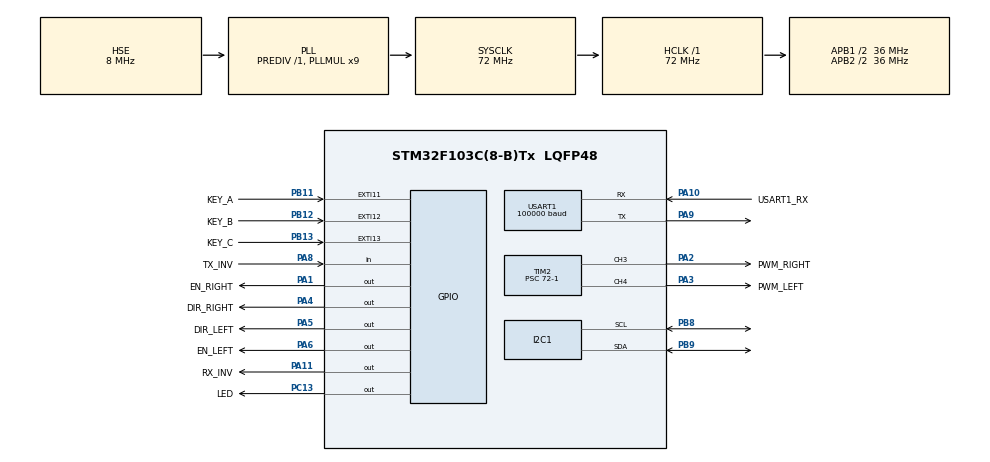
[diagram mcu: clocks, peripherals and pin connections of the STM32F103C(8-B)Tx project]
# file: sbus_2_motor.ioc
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Dma.I2C1_TX.0.Direction=DMA_MEMORY_TO_PERIPH
Dma.I2C1_TX.0.Instance=DMA1_Channel6
Dma.I2C1_TX.0.MemDataAlignment=DMA_MDATAALIGN_BYTE
Dma.I2C1_TX.0.MemInc=DMA_MINC_ENABLE
Dma.I2C1_TX.0.Mode=DMA_NORMAL
Dma.I2C1_TX.0.PeriphDataAlignment=DMA_PDATAALIGN_BYTE
Dma.I2C1_TX.0.PeriphInc=DMA_PINC_DISABLE
Dma.I2C1_TX.0.Priority=DMA_PRIORITY_LOW
Dma.Request0=I2C1_TX
Dma.Request1=USART1_RX
Dma.Request2=TIM2_CH2/CH4
Dma.Request3=TIM2_CH3
Dma.TIM2_CH2/CH4.2.Direction=DMA_MEMORY_TO_PERIPH
Dma.TIM2_CH2/CH4.2.Instance=DMA1_Channel7
Dma.TIM2_CH2/CH4.2.MemDataAlignment=DMA_MDATAALIGN_HALFWORD
Dma.TIM2_CH2/CH4.2.MemInc=DMA_MINC_ENABLE
Dma.TIM2_CH2/CH4.2.Mode=DMA_NORMAL
Dma.TIM2_CH2/CH4.2.PeriphDataAlignment=DMA_PDATAALIGN_HALFWORD
Dma.TIM2_CH2/CH4.2.PeriphInc=DMA_PINC_DISABLE
Dma.TIM2_CH2/CH4.2.Priority=DMA_PRIORITY_LOW
Dma.TIM2_CH3.3.Direction=DMA_MEMORY_TO_PERIPH
Dma.TIM2_CH3.3.Instance=DMA1_Channel1
Dma.TIM2_CH3.3.MemDataAlignment=DMA_MDATAALIGN_HALFWORD
Dma.TIM2_CH3.3.MemInc=DMA_MINC_ENABLE
Dma.TIM2_CH3.3.Mode=DMA_NORMAL
Dma.TIM2_CH3.3.PeriphDataAlignment=DMA_PDATAALIGN_HALFWORD
Dma.TIM2_CH3.3.PeriphInc=DMA_PINC_DISABLE
Dma.TIM2_CH3.3.Priority=DMA_PRIORITY_LOW
Dma.USART1_RX.1.Direction=DMA_PERIPH_TO_MEMORY
Dma.USART1_RX.1.Instance=DMA1_Channel5
Dma.USART1_RX.1.MemDataAlignment=DMA_MDATAALIGN_BYTE
Dma.USART1_RX.1.MemInc=DMA_MINC_ENABLE
Dma.USART1_RX.1.Mode=DMA_NORMAL
Dma.USART1_RX.1.PeriphDataAlignment=DMA_PDATAALIGN_BYTE
Dma.USART1_RX.1.PeriphInc=DMA_PINC_DISABLE
Dma.USART1_RX.1.Priority=DMA_PRIORITY_MEDIUM
I2C1.I2C_Mode=I2C_Standard
Mcu.Family=STM32F1
Mcu.Name=STM32F103C(8-B)Tx
Mcu.Package=LQFP48
NVIC.DMA1_Channel1_IRQn=true\:0\:0\:false\:false\:true\:true\:true\:true
NVIC.DMA1_Channel5_IRQn=true\:0\:0\:false\:false\:true\:true\:true\:true
NVIC.DMA1_Channel6_IRQn=true\:0\:0\:true\:true\:true\:1\:false\:true\:true
NVIC.DMA1_Channel7_IRQn=true\:0\:0\:false\:false\:true\:true\:true\:true
NVIC.EXTI15_10_IRQn=true\:0\:0\:false\:true\:true\:2\:true\:true\:true
NVIC.I2C1_ER_IRQn=true\:0\:0\:true\:false\:true\:true\:true\:true
NVIC.I2C1_EV_IRQn=true\:0\:0\:true\:false\:true\:true\:true\:true
NVIC.PriorityGroup=NVIC_PRIORITYGROUP_4
NVIC.TIM2_IRQn=true\:0\:0\:true\:false\:true\:true\:true\:true
NVIC.USART1_IRQn=true\:0\:0\:false\:false\:true\:true\:true\:true
PA1.GPIO_Label=EN_RIGHT
PA1.Signal=GPIO_Output
PA10.GPIO_Label=USART1_RX
PA10.GPIO_ModeDefaultEXTI=GPIO_MODE_IT_FALLING
PA10.GPIO_PuPd=GPIO_NOPULL
PA10.Signal=SharedStack_PA10
PA10.Stacked=true
PA11.GPIO_Label=RX_INV
PA11.Signal=GPIO_Output
PA13.Mode=Serial_Wire
PA13.Signal=SYS_JTMS-SWDIO
PA14.Mode=Serial_Wire
PA14.Signal=SYS_JTCK-SWCLK
PA2.GPIO_Label=PWM_RIGHT
PA2.Signal=S_TIM2_CH3
PA3.GPIO_Label=PWM_LEFT
PA3.Signal=S_TIM2_CH4
PA4.GPIO_Label=DIR_RIGHT
PA4.Signal=GPIO_Output
PA5.GPIO_Label=DIR_LEFT
PA5.Signal=GPIO_Output
PA6.GPIO_Label=EN_LEFT
PA6.Signal=GPIO_Output
PA8.GPIO_Label=TX_INV
PA8.Signal=GPIO_Input
PA9.Mode=Asynchronous
PA9.Signal=USART1_TX
PB11.GPIO_Label=KEY_A
PB11.GPIO_PuPd=GPIO_PULLUP
PB11.Signal=SharedStack_PB11
PB11.Stacked=true
PB12.GPIO_Label=KEY_B
PB12.GPIO_PuPd=GPIO_PULLUP
PB12.Signal=SharedStack_PB12
PB12.Stacked=true
PB13.GPIO_Label=KEY_C
PB13.GPIO_PuPd=GPIO_PULLUP
PB13.Signal=SharedStack_PB13
PB13.Stacked=true
PB8.Mode=I2C
PB8.Signal=I2C1_SCL
PB9.Mode=I2C
PB9.Signal=I2C1_SDA
PC13-TAMPER-RTC.GPIO_Label=LED
PC13-TAMPER-RTC.Signal=GPIO_Output
PC14-OSC32_IN.Mode=LSE-External-Oscillator
PC14-OSC32_IN.Signal=RCC_OSC32_IN
PC15-OSC32_OUT.Mode=LSE-External-Oscillator
PC15-OSC32_OUT.Signal=RCC_OSC32_OUT
PD0-OSC_IN.Mode=HSE-External-Oscillator
PD0-OSC_IN.Signal=RCC_OSC_IN
PD1-OSC_OUT.Mode=HSE-External-Oscillator
PD1-OSC_OUT.Signal=RCC_OSC_OUT
ProjectManager.HeapSize=0x200
ProjectManager.StackSize=0x400
ProjectManager.TargetToolchain=STM32CubeIDE
RCC.AHBFreq_Value=72000000
RCC.APB1CLKDivider=RCC_HCLK_DIV2
RCC.APB1Freq_Value=36000000
RCC.APB1TimFreq_Value=72000000
RCC.APB2CLKDivider=RCC_HCLK_DIV2
RCC.APB2Freq_Value=36000000
RCC.APB2TimFreq_Value=72000000
RCC.EnbaleCSS=true
RCC.HCLKFreq_Value=72000000
RCC.PLLMUL=RCC_PLL_MUL9
RCC.PLLSourceVirtual=RCC_PLLSOURCE_HSE
RCC.SYSCLKFreq_VALUE=72000000
RCC.SYSCLKSource=RCC_SYSCLKSOURCE_PLLCLK
RCC.USBFreq_Value=72000000
SH.S_TIM2_CH3.0=TIM2_CH3,PWM Generation3 CH3
SH.S_TIM2_CH4.0=TIM2_CH4,PWM Generation4 CH4
SH.SharedStack_PA10.0=USART1_RX,Asynchronous
SH.SharedStack_PA10.1=GPIO_EXTI10+0
SH.SharedStack_PB11.0=GPIO_EXTI11
SH.SharedStack_PB11.1=GPIO_Input+0
SH.SharedStack_PB12.0=GPIO_EXTI12
SH.SharedStack_PB12.1=GPIO_Input+0
SH.SharedStack_PB13.0=GPIO_EXTI13
SH.SharedStack_PB13.1=GPIO_Input+0
TIM2.AutoReloadPreload=TIM_AUTORELOAD_PRELOAD_ENABLE
TIM2.Channel-PWM\ Generation3\ CH3=TIM_CHANNEL_3
TIM2.Channel-PWM\ Generation4\ CH4=TIM_CHANNEL_4
TIM2.ClockDivision=TIM_CLOCKDIVISION_DIV1
TIM2.OCFastMode_PWM-PWM\ Generation3\ CH3=TIM_OCFAST_ENABLE
TIM2.OCFastMode_PWM-PWM\ Generation4\ CH4=TIM_OCFAST_ENABLE
TIM2.Period=1000-1
TIM2.Prescaler=72-1
TIM2.Pulse-PWM\ Generation3\ CH3=0
TIM2.Pulse-PWM\ Generation4\ CH4=0
USART1.BaudRate=100000
USART1.Parity=PARITY_EVEN
USART1.StopBits=STOPBITS_2
USART1.VirtualMode=VM_ASYNC
VP_TIM2_VS_ClockSourceINT.Mode=Internal
board=custom

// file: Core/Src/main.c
/* USER CODE BEGIN Header */
/**
  ******************************************************************************
  * @file           : main.c
  * @brief          : Main program body
  ******************************************************************************
  * @attention
  *
  * Copyright (c) 2022 STMicroelectronics.
  * All rights reserved.
  *
  * This software is licensed under terms that can be found in the LICENSE file
  * in the root directory of this software component.
  * If no LICENSE file comes with this software, it is provided AS-IS.
  *
  ******************************************************************************
  */
/* USER CODE END Header */
#include "main.h"

/* USER CODE BEGIN Includes */
#include "fonts.h"
#include "image.h"
#include "math.h"
#include "string.h"
#include "ssd1306.h"
#include <stdio.h>
/* USER CODE END Includes */

/* USER CODE BEGIN PTD */
typedef struct {
	int16_t value;
	int16_t trim;

//	uint8_t channel_bits;
}
channel_t;

/* USER CODE END PTD */

/* USER CODE BEGIN PD */

//SBUS
#define SBUS_SIGNAL_OK          0x00
#define SBUS_SIGNAL_LOST        0x01
#define SBUS_SIGNAL_FAILSAFE    0x03

#define BUF_RX_LENGTH 25
/* USER CODE END PD */

I2C_HandleTypeDef hi2c1;
DMA_HandleTypeDef hdma_i2c1_tx;

TIM_HandleTypeDef htim2;
DMA_HandleTypeDef hdma_tim2_ch2_ch4;
DMA_HandleTypeDef hdma_tim2_ch3;

UART_HandleTypeDef huart1;
DMA_HandleTypeDef hdma_usart1_rx;

/* USER CODE BEGIN PV */
channel_t channels[18];
uint16_t failsafe_status;
HAL_StatusTypeDef HAL_status;
uint8_t buf_in[BUF_RX_LENGTH];
char str[20] = {0,};
int speed = 0;
int rotary = 0;
long left , right = 0;
unsigned int packetCounter, oldPacketCounter = 0;
/* USER CODE END PV */

void SystemClock_Config(void);
static void MX_GPIO_Init(void);
static void MX_DMA_Init(void);
static void MX_I2C1_Init(void);
static void MX_TIM2_Init(void);
static void MX_USART1_UART_Init(void);
static void MX_NVIC_Init(void);

/* USER CODE BEGIN 0 */
void parse_Motion()
{
	// As a distance from center stick point
	// wrong data protection
	if (failsafe_status != SBUS_SIGNAL_OK || packetCounter == 0) {
			speed = 0;
			rotary = 0;

		} else {

			speed = ((speed * 5) + (channels[0].value - channels[0].trim)*3)/8;
			if (abs(speed) < 32) {
				speed = 0;
			} else {
				speed = (speed > 0)?(speed - 32):(speed + 32);
			}
			rotary = ((rotary * 5) + (channels[1].value - channels[1].trim)*3)/8;
			if (abs(rotary) < 32) {
				rotary = 0;
						} else {
							rotary = (rotary > 0)?(rotary - 32):(rotary + 32);
						}
		}
    //mixes to gears

	left = (speed*2+rotary)*10/8;
	right = (speed*2-rotary)*10/8;
	// make config for direction
	HAL_GPIO_WritePin(EN_LEFT_GPIO_Port, EN_LEFT_Pin, !(abs(left) > 50 || abs(right) > 50) && failsafe_status == SBUS_SIGNAL_OK);
    HAL_GPIO_WritePin(EN_RIGHT_GPIO_Port, EN_RIGHT_Pin, !(abs(left) > 50 || abs(right) > 50) && failsafe_status == SBUS_SIGNAL_OK);
	HAL_GPIO_WritePin(DIR_LEFT_GPIO_Port, DIR_LEFT_Pin, left > 0);
	HAL_GPIO_WritePin(DIR_RIGHT_GPIO_Port, DIR_RIGHT_Pin, right > 0);

	HAL_TIM_PWM_Stop(&htim2, TIM_CHANNEL_3);
	HAL_TIM_PWM_Stop(&htim2, TIM_CHANNEL_4);

	TIM2->CCR4 = (abs(left) > 950)?(950):(abs(left));
	TIM2->CCR3 = (abs(right) > 950)?(950):(abs(right));
	HAL_TIM_PWM_Start(&htim2, TIM_CHANNEL_3);
	  	HAL_TIM_PWM_Start(&htim2, TIM_CHANNEL_4);

//	__HAL_TIM_SET_COMPARE(&htim2, TIM_CHANNEL_4, abs(right) > 1000)? (1000):(abs(right));

}

void HAL_UART_RxCpltCallback(UART_HandleTypeDef *huart)
{
	 HAL_GPIO_TogglePin(LED_GPIO_Port, LED_Pin);

	if (buf_in[0] == 0x0F && buf_in[24] == 0x00) {
		channels[0].value = (((buf_in[2] & 0b00000111) << 8) | (buf_in[1])) & 0x07FF;
		channels[0].value+= (channels[0].value < 992)?(128):(0);
			//	((buf_in[1] & 0x00FF) + (buf_in[2] * 0x0100)) % 2048;
		channels[1].value = (buf_in[2] >> 3 | (buf_in[3] << 5)) & 0x07FF;
		channels[2].value = (buf_in[3] >> 6 | (buf_in[4] << 2) | buf_in[5] << 10) & 0x07FF;
		channels[3].value = (buf_in[5] >> 1 | (buf_in[6] << 7)) & 0x07FF;
		channels[4].value = (buf_in[6] >> 4 | (buf_in[7] << 4)) & 0x07FF;
		channels[5].value = (buf_in[7] >> 7 | (buf_in[8] << 1) | buf_in[9] << 9) & 0x07FF;
		channels[6].value = (buf_in[9] >> 2 | (buf_in[10] << 6)) & 0x07FF;
		channels[7].value = (buf_in[10] >> 5 | (buf_in[11] << 3)) & 0x07FF;
		channels[8].value = (buf_in[12] << 0 | (buf_in[13] << 8)) & 0x07FF;
		channels[9].value = (buf_in[13] >> 3 | (buf_in[14] << 5)) & 0x07FF;
		channels[10].value = (buf_in[14] >> 6 | (buf_in[15] << 2) | buf_in[16] << 10) & 0x07FF;
		channels[11].value = (buf_in[16] >> 1 | (buf_in[17] << 7)) & 0x07FF;
		channels[12].value = (buf_in[17] >> 4 | (buf_in[18] << 4)) & 0x07FF;
		channels[13].value = (buf_in[18] >> 7 | (buf_in[19] << 1) | buf_in[20] << 9) & 0x07FF;
		channels[14].value = (buf_in[20] >> 2 | (buf_in[21] << 6)) & 0x07FF;
		channels[15].value = (buf_in[21] >> 5 | (buf_in[22] << 3)) & 0x07FF;

		if (buf_in[23] & (1 << 0)) {
			channels[16].value = 1;
		} else {
			channels[16].value = 0;
		}

		if (buf_in[23] & (1 << 1)) {
			channels[17].value = 1;
		} else {
			channels[17].value = 0;
		}
		// Failsafe
		failsafe_status = SBUS_SIGNAL_OK;
		if (buf_in[23] & (1 << 2)) {
			failsafe_status = SBUS_SIGNAL_LOST;
		}

		if (buf_in[23] & (1 << 3)) {
			failsafe_status = SBUS_SIGNAL_FAILSAFE;
		}

		//	SBUS_footer=buf_in[24];

		// autotrim procedure

		packetCounter+= packetCounter<10;
	}
	HAL_status = HAL_UARTEx_ReceiveToIdle_IT(&huart1, (uint8_t *)buf_in, 25);

}

/* USER CODE END 0 */

int main(void)
{
  /* USER CODE BEGIN 1 */
			channels[0].value = 992;
			channels[1].value = 992;
			channels[0].trim = 992;
			channels[1].trim = 992;

  /* USER CODE END 1 */

  /* MCU Configuration--------------------------------------------------------*/

  /* Reset of all peripherals, Initializes the Flash interface and the Systick. */
  HAL_Init();

  /* Configure the system clock */
  SystemClock_Config();

  /* Initialize all configured peripherals */
  MX_GPIO_Init();
  MX_DMA_Init();
  MX_I2C1_Init();
  MX_TIM2_Init();
  MX_USART1_UART_Init();

  /* Initialize interrupts */
  MX_NVIC_Init();
  /* USER CODE BEGIN 2 */
  HAL_Delay(500); // for stable init screen

	ssd1306_Init();
  	ssd1306_SetColor(White);
  	ssd1306_UpdateScreen();
  	ssd1306_DisplayOn();
  	HAL_GPIO_WritePin(RX_INV_GPIO_Port, RX_INV_Pin, GPIO_PIN_SET);
	HAL_TIM_PWM_Start(&htim2, TIM_CHANNEL_3);
  	HAL_TIM_PWM_Start(&htim2, TIM_CHANNEL_4);
	HAL_status = HAL_UARTEx_ReceiveToIdle_DMA(&huart1, (uint8_t *)buf_in, 25);

  /* USER CODE END 2 */

  /* Infinite loop */
  /* USER CODE BEGIN WHILE */
  while (1)
  {
	  ssd1306_Clear();
	  ssd1306_DrawVerticalLine(64, 0, 3);
	  if (channels[0].value > channels[0].trim) {
	  ssd1306_DrawHorizontalLine(64, 1, (channels[0].value - channels[0].trim)/16);
	  } else {
	  ssd1306_DrawHorizontalLine(64-(channels[0].trim-channels[0].value)/16, 1, (channels[0].trim - channels[0].value)/16);
	  }
	  ssd1306_DrawVerticalLine(64, 5, 3);
	  if (channels[1].value > channels[1].trim) {
		  ssd1306_DrawHorizontalLine(64, 6, (channels[1].value - channels[1].trim)/16);
		  } else {
		  ssd1306_DrawHorizontalLine(64-(channels[1].trim - channels[1].value)/16, 6, (channels[1].trim - channels[1].value)/16);
		  }
		 ssd1306_DrawVerticalLine(64, 9, 3);

  	  ssd1306_DrawHorizontalLine((left >0)?(64):(64 + left/16), 10, (abs(left))/16);
  	  ssd1306_DrawVerticalLine(64, 14, 3);
  	  ssd1306_DrawHorizontalLine((right >0)?(64):(64 + right/16), 15, (abs(right))/16);

      parse_Motion();

      ssd1306_SetCursor(0, 17);
            switch (HAL_status) {
            case HAL_OK: ssd1306_WriteChar('+', Font_7x8); break;
            case HAL_BUSY: ssd1306_WriteChar('~', Font_7x8); break;
            case HAL_ERROR: ssd1306_WriteChar('-', Font_7x8); break;
            case HAL_TIMEOUT: ssd1306_WriteChar('T', Font_7x8); break;
            }
      ssd1306_SetCursor(9, 17);
      sprintf(str,"%02x%02x %2d %4d %4d",buf_in[1],buf_in[2], packetCounter,  channels[0].value,  channels[1].value);
      ssd1306_WriteString(str, Font_7x8);
      ssd1306_UpdateScreen();
	  HAL_Delay(50);
	  HAL_GPIO_TogglePin(LED_GPIO_Port, LED_Pin);
	  packetCounter -= packetCounter>0;

    /* USER CODE END WHILE */

  }
}

void SystemClock_Config(void)
{
  RCC_OscInitTypeDef RCC_OscInitStruct = {0};
  RCC_ClkInitTypeDef RCC_ClkInitStruct = {0};

  /** Initializes the RCC Oscillators according to the specified parameters
  * in the RCC_OscInitTypeDef structure.
  */
  RCC_OscInitStruct.OscillatorType = RCC_OSCILLATORTYPE_HSE;
  RCC_OscInitStruct.HSEState = RCC_HSE_ON;
  RCC_OscInitStruct.HSEPredivValue = RCC_HSE_PREDIV_DIV1;
  RCC_OscInitStruct.HSIState = RCC_HSI_ON;
  RCC_OscInitStruct.PLL.PLLState = RCC_PLL_ON;
  RCC_OscInitStruct.PLL.PLLSource = RCC_PLLSOURCE_HSE;
  RCC_OscInitStruct.PLL.PLLMUL = RCC_PLL_MUL9;
  if (HAL_RCC_OscConfig(&RCC_OscInitStruct) != HAL_OK)
  {
    Error_Handler();
  }

  /** Initializes the CPU, AHB and APB buses clocks
  */
  RCC_ClkInitStruct.ClockType = RCC_CLOCKTYPE_HCLK|RCC_CLOCKTYPE_SYSCLK
                              |RCC_CLOCKTYPE_PCLK1|RCC_CLOCKTYPE_PCLK2;
  RCC_ClkInitStruct.SYSCLKSource = RCC_SYSCLKSOURCE_PLLCLK;
  RCC_ClkInitStruct.AHBCLKDivider = RCC_SYSCLK_DIV1;
  RCC_ClkInitStruct.APB1CLKDivider = RCC_HCLK_DIV2;
  RCC_ClkInitStruct.APB2CLKDivider = RCC_HCLK_DIV2;

  if (HAL_RCC_ClockConfig(&RCC_ClkInitStruct, FLASH_LATENCY_2) != HAL_OK)
  {
    Error_Handler();
  }

  /** Enables the Clock Security System
  */
  HAL_RCC_EnableCSS();
}

/**
  * @brief NVIC Configuration.
  * @retval None
  */
static void MX_NVIC_Init(void)
{
  /* DMA1_Channel6_IRQn interrupt configuration */
  HAL_NVIC_SetPriority(DMA1_Channel6_IRQn, 0, 0);
  HAL_NVIC_EnableIRQ(DMA1_Channel6_IRQn);
  /* EXTI15_10_IRQn interrupt configuration */
  HAL_NVIC_SetPriority(EXTI15_10_IRQn, 0, 0);
  HAL_NVIC_EnableIRQ(EXTI15_10_IRQn);
}

static void MX_I2C1_Init(void)
{

  hi2c1.Instance = I2C1;
  hi2c1.Init.ClockSpeed = 100000;
  hi2c1.Init.DutyCycle = I2C_DUTYCYCLE_2;
  hi2c1.Init.OwnAddress1 = 0;
  hi2c1.Init.AddressingMode = I2C_ADDRESSINGMODE_7BIT;
  hi2c1.Init.DualAddressMode = I2C_DUALADDRESS_DISABLE;
  hi2c1.Init.OwnAddress2 = 0;
  hi2c1.Init.GeneralCallMode = I2C_GENERALCALL_DISABLE;
  hi2c1.Init.NoStretchMode = I2C_NOSTRETCH_DISABLE;
  if (HAL_I2C_Init(&hi2c1) != HAL_OK)
  {
    Error_Handler();
  }

}

static void MX_TIM2_Init(void)
{

  TIM_ClockConfigTypeDef sClockSourceConfig = {0};
  TIM_MasterConfigTypeDef sMasterConfig = {0};
  TIM_OC_InitTypeDef sConfigOC = {0};

  htim2.Instance = TIM2;
  htim2.Init.Prescaler = 72-1;
  htim2.Init.CounterMode = TIM_COUNTERMODE_UP;
  htim2.Init.Period = 1000-1;
  htim2.Init.ClockDivision = TIM_CLOCKDIVISION_DIV1;
  htim2.Init.AutoReloadPreload = TIM_AUTORELOAD_PRELOAD_ENABLE;
  if (HAL_TIM_Base_Init(&htim2) != HAL_OK)
  {
    Error_Handler();
  }
  sClockSourceConfig.ClockSource = TIM_CLOCKSOURCE_INTERNAL;
  if (HAL_TIM_ConfigClockSource(&htim2, &sClockSourceConfig) != HAL_OK)
  {
    Error_Handler();
  }
  if (HAL_TIM_PWM_Init(&htim2) != HAL_OK)
  {
    Error_Handler();
  }
  sMasterConfig.MasterOutputTrigger = TIM_TRGO_RESET;
  sMasterConfig.MasterSlaveMode = TIM_MASTERSLAVEMODE_DISABLE;
  if (HAL_TIMEx_MasterConfigSynchronization(&htim2, &sMasterConfig) != HAL_OK)
  {
    Error_Handler();
  }
  sConfigOC.OCMode = TIM_OCMODE_PWM1;
  sConfigOC.Pulse = 0;
  sConfigOC.OCPolarity = TIM_OCPOLARITY_HIGH;
  sConfigOC.OCFastMode = TIM_OCFAST_ENABLE;
  if (HAL_TIM_PWM_ConfigChannel(&htim2, &sConfigOC, TIM_CHANNEL_3) != HAL_OK)
  {
    Error_Handler();
  }
  if (HAL_TIM_PWM_ConfigChannel(&htim2, &sConfigOC, TIM_CHANNEL_4) != HAL_OK)
  {
    Error_Handler();
  }
  HAL_TIM_MspPostInit(&htim2);

}

static void MX_USART1_UART_Init(void)
{

  huart1.Instance = USART1;
  huart1.Init.BaudRate = 100000;
  huart1.Init.WordLength = UART_WORDLENGTH_8B;
  huart1.Init.StopBits = UART_STOPBITS_2;
  huart1.Init.Parity = UART_PARITY_EVEN;
  huart1.Init.Mode = UART_MODE_TX_RX;
  huart1.Init.HwFlowCtl = UART_HWCONTROL_NONE;
  huart1.Init.OverSampling = UART_OVERSAMPLING_16;
  if (HAL_UART_Init(&huart1) != HAL_OK)
  {
    Error_Handler();
  }

}

static void MX_DMA_Init(void)
{

  /* DMA controller clock enable */
  __HAL_RCC_DMA1_CLK_ENABLE();

  /* DMA interrupt init */
  /* DMA1_Channel1_IRQn interrupt configuration */
  HAL_NVIC_SetPriority(DMA1_Channel1_IRQn, 0, 0);
  HAL_NVIC_EnableIRQ(DMA1_Channel1_IRQn);
  /* DMA1_Channel5_IRQn interrupt configuration */
  HAL_NVIC_SetPriority(DMA1_Channel5_IRQn, 0, 0);
  HAL_NVIC_EnableIRQ(DMA1_Channel5_IRQn);
  /* DMA1_Channel7_IRQn interrupt configuration */
  HAL_NVIC_SetPriority(DMA1_Channel7_IRQn, 0, 0);
  HAL_NVIC_EnableIRQ(DMA1_Channel7_IRQn);

}

static void MX_GPIO_Init(void)
{
  GPIO_InitTypeDef GPIO_InitStruct = {0};

  /* GPIO Ports Clock Enable */
  __HAL_RCC_GPIOC_CLK_ENABLE();
  __HAL_RCC_GPIOD_CLK_ENABLE();
  __HAL_RCC_GPIOA_CLK_ENABLE();
  __HAL_RCC_GPIOB_CLK_ENABLE();

  /*Configure GPIO pin Output Level */
  HAL_GPIO_WritePin(LED_GPIO_Port, LED_Pin, GPIO_PIN_RESET);

  /*Configure GPIO pin Output Level */
  HAL_GPIO_WritePin(GPIOA, EN_RIGHT_Pin|DIR_RIGHT_Pin|DIR_LEFT_Pin|EN_LEFT_Pin
                          |RX_INV_Pin, GPIO_PIN_RESET);

  /*Configure GPIO pin : LED_Pin */
  GPIO_InitStruct.Pin = LED_Pin;
  GPIO_InitStruct.Mode = GPIO_MODE_OUTPUT_PP;
  GPIO_InitStruct.Pull = GPIO_NOPULL;
  GPIO_InitStruct.Speed = GPIO_SPEED_FREQ_LOW;
  HAL_GPIO_Init(LED_GPIO_Port, &GPIO_InitStruct);

  /*Configure GPIO pins : EN_RIGHT_Pin DIR_RIGHT_Pin DIR_LEFT_Pin EN_LEFT_Pin
                           RX_INV_Pin */
  GPIO_InitStruct.Pin = EN_RIGHT_Pin|DIR_RIGHT_Pin|DIR_LEFT_Pin|EN_LEFT_Pin
                          |RX_INV_Pin;
  GPIO_InitStruct.Mode = GPIO_MODE_OUTPUT_PP;
  GPIO_InitStruct.Pull = GPIO_NOPULL;
  GPIO_InitStruct.Speed = GPIO_SPEED_FREQ_LOW;
  HAL_GPIO_Init(GPIOA, &GPIO_InitStruct);

  /*Configure GPIO pins : KEY_A_Pin KEY_B_Pin KEY_C_Pin */
  GPIO_InitStruct.Pin = KEY_A_Pin|KEY_B_Pin|KEY_C_Pin;
  GPIO_InitStruct.Mode = GPIO_MODE_IT_RISING;
  GPIO_InitStruct.Pull = GPIO_PULLUP;
  HAL_GPIO_Init(GPIOB, &GPIO_InitStruct);

  /*Configure GPIO pin : TX_INV_Pin */
  GPIO_InitStruct.Pin = TX_INV_Pin;
  GPIO_InitStruct.Mode = GPIO_MODE_INPUT;
  GPIO_InitStruct.Pull = GPIO_NOPULL;
  HAL_GPIO_Init(TX_INV_GPIO_Port, &GPIO_InitStruct);

}

void Error_Handler(void)
{
  __disable_irq();
  while (1)
  {
  }
}
